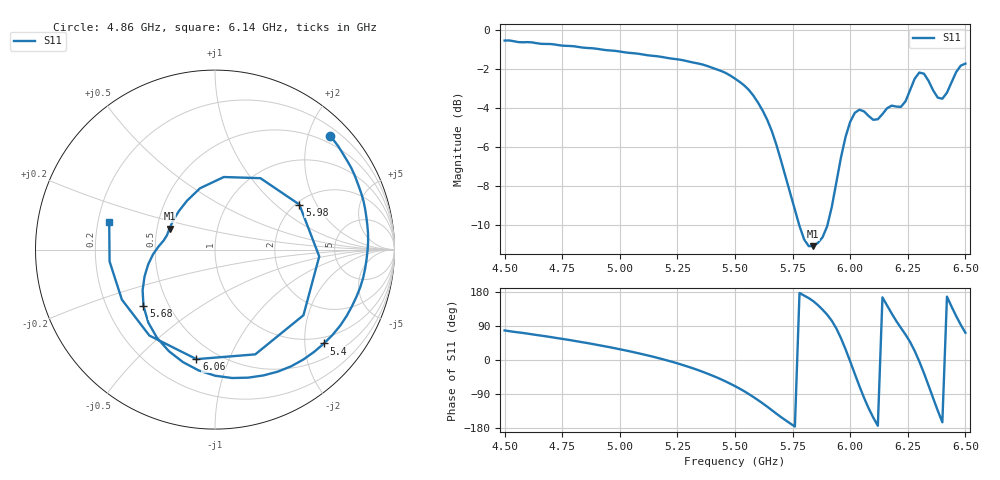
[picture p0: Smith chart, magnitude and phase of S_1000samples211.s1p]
! TOUCHSTONE file generated by CST MICROWAVE STUDIO
! Date and time: Thu Oct 27 09:39:39 2022
! Project name: L.cst
! Parameters = {Di=1.27; Epsilon_r=1.56; InnerDiameter=1.27; Length=2; Lf=10; Lg=60; OuterConductorThickness=0.2921; OuterDiameter=3.6; Wf=3; Wp=41.2; de=1.5; df=6.8; g=0.8; gx=2.61819; gy=2.09498; h=2.34; hf=1.524; px=9.30123; py=13.7578; w=9.7; wx=6.68305; wy=11.6628}
! Header version: 2018
! Port assignment regex: !\s*Touchstone port\s*([0-9]+)\s*=\s*(CST MWS port|CST DS port)\s*([0-9]+|Zmin|Zmax)\s*\(\"(.*)\"\)(\s*mode\s*([0-9]+))?.*
! Touchstone port assignment:
! Touchstone port 1 = CST MWS port 1 ("")
# GHz S DB R 50
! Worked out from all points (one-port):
!   101 points, 4.5 GHz to 6.5 GHz, reference 50 ohm
!   lowest |S11| = -11.1 dB at 5.84 GHz (marker M1), VSWR 1.77, Z = 29.1 + j7.4 ohm
!   |S11| at or under -10 dB: 5.779 GHz to 5.901 GHz (122.3 MHz wide, 2.09 % of centre)
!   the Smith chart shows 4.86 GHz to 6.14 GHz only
!   S11 on the Smith chart (normalised r, x): 4.86 GHz: 0.36, +2.39; 5.4 GHz: 0.84, -2.44; 5.68 GHz: 0.36, -0.31; 5.98 GHz: 2.08, +1.46; 6.06 GHz: 0.39, -0.77; 6.14 GHz: 0.25, +0.12
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4.5  -0.53 78.0
4.76  -0.80 54.8
4.86  -0.91 44.6
5  -1.09 28.3
5.26  -1.51 -10.7
5.4  -1.92 -40.8
5.5  -2.49 -68.9
5.58  -3.36 -97.7
5.68  -5.89 -141.8
5.76  -9.21 -175.7
5.84  -11.08 155.2
5.92  -9.07 103.7
5.96  -6.53 57.5
5.98  -5.47 28.1
6  -4.70 -3.8
6.04  -4.08 -69.0
6.06  -4.17 -99.6
6.1  -4.60 -151.7
6.14  -4.30 165.3
6.2  -3.92 102.9
6.26  -3.07 47.5
6.3  -2.17 -3.8
6.34  -2.60 -67.1
6.36  -3.09 -100.6
6.38  -3.46 -133.5
6.42  -3.21 167.2
6.46  -2.15 115.9
6.5  -1.71 71.9
